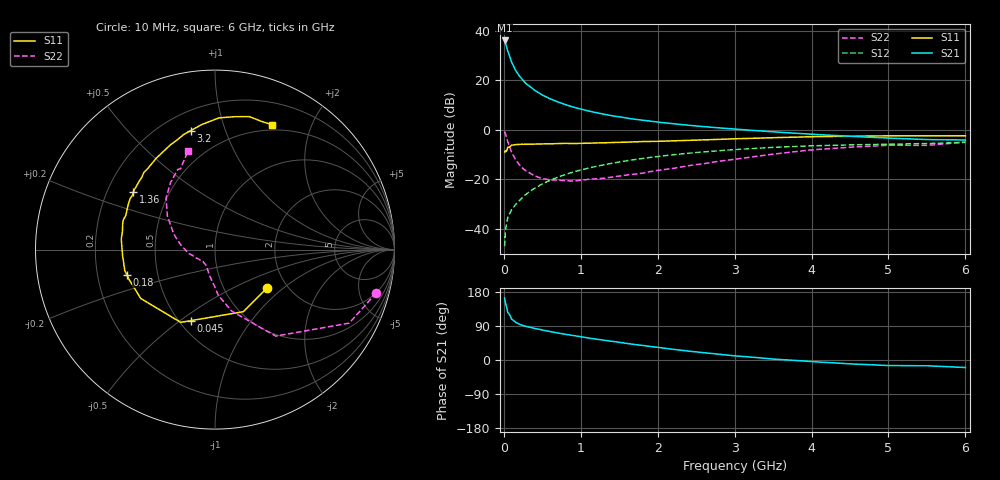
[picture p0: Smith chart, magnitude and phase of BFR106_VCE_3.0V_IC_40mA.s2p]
! Infineon Technologies  Discrete & RF Semiconductors
! BFR106
! VCE =  3.0 V,  IC =  40 mA
! Common Emitter S-Parameters:  Nov 2015
# GHz  S  MA  R  50
!  f  S11  S21  S12  S22
! GHz  MAG  ANG  MAG  ANG  MAG  ANG  MAG  ANG
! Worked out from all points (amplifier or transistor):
!   210 points, 10 MHz to 6 GHz, reference 50 ohm
!   highest |S21| = 36.2 dB at 10 MHz (marker M1)
!   |S21| within 3 dB of that: start of sweep to 38.62 MHz
!   unconditionally stable (mu >= 1): 263.7 MHz to 2.441 GHz; 5.447 GHz to 5.868 GHz
!   at 185 MHz: K = 0.91, MSG = 25.8 dB, |S12| = -29.0 dB
!   at 1.52 GHz: K = 1.05, MAG = 7.6 dB, |S12| = -12.8 dB
!   at 6 GHz: K = 1.00, MSG = 0.5 dB, |S12| = -5.0 dB
!   S11 on the Smith chart (normalised r, x): 10 MHz: 1.59, -0.78; 45 MHz: 0.57, -0.55; 180 MHz: 0.33, -0.12; 1.36 GHz: 0.31, +0.29; 3.2 GHz: 0.31, +0.77; 6 GHz: 0.44, +1.46
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0.01  0.3606 -36.2  64.37 163.9  0.0045 80.0  0.9305 -15.0
0.02  0.38 -65.6  58.34 151.1  0.009 70.6  0.8528 -28.7
0.045  0.4172 -108.6  41.98 131.5  0.0154 60.8  0.6217 -49.1
0.05  0.448 -115.2  39.58 125.8  0.0167 59.8  0.5892 -54.9
0.1  0.4952 -146.6  23.5 108.1  0.0243 58.9  0.3547 -74.9
0.15  0.5059 -160.0  16.26 99.5  0.0308 61.5  0.2546 -85.9
0.18  0.5113 -164.2  13.95 96.8  0.0347 63.8  0.2211 -88.9
0.2  0.5163 -166.9  12.44 94.5  0.0374 65.0  0.1992 -91.4
0.26  0.5141 -173.1  9.663 90.2  0.0461 67.3  0.1602 -98.7
0.3  0.5162 -175.8  8.369 88.0  0.0521 68.5  0.1459 -102.4
0.4  0.5198 177.8  6.348 83.3  0.0664 70.1  0.1187 -110.6
0.5  0.5257 173.5  5.088 79.0  0.081 70.3  0.104 -116.8
0.6  0.5253 169.2  4.27 75.1  0.0962 69.9  0.0987 -121.7
0.8  0.5372 162.4  3.242 67.9  0.1261 68.1  0.0945 -132.7
1.02  0.54 154.9  2.594 60.8  0.1583 65.6  0.0971 -140.3
1.36  0.5561 144.8  1.999 50.6  0.2066 60.8  0.1094 -152.9
2.02  0.5916 127.5  1.434 32.8  0.2937 50.8  0.1542 -174.9
3.1  0.6704 103.3  1.016 9.5  0.4105 33.7  0.2688 153.7
3.2  0.6769 101.4  0.99 7.9  0.419 32.1  0.2823 151.1
4.1  0.7365 86.9  0.804 -5.4  0.4822 18.7  0.4061 131.2
5.1  0.7635 74.4  0.677 -14.7  0.521 6.4  0.4915 114.6
6  0.7648 65.5  0.627 -19.8  0.5614 -3.2  0.5706 105.2
